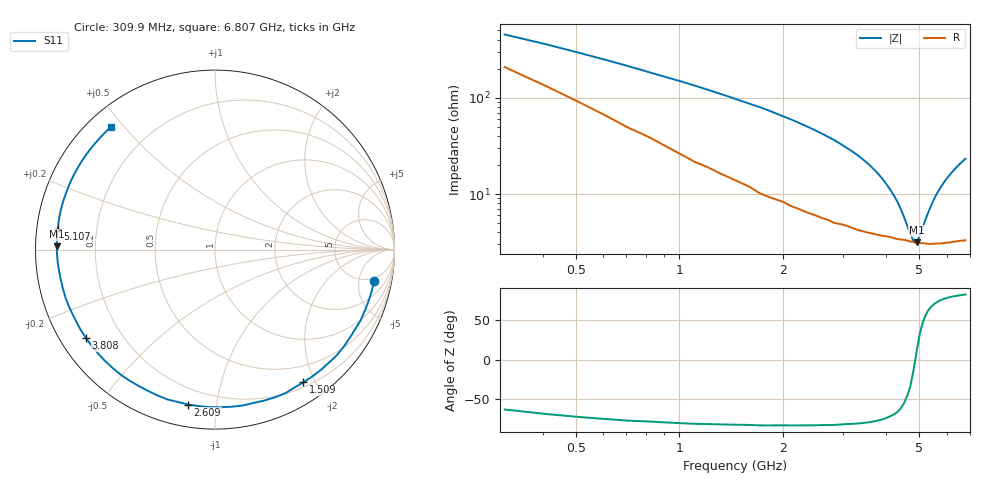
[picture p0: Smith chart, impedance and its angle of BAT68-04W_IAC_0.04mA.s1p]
! Infineon Technologies  Discrete & RF Semiconductors
! BAT68-04W
! IAC = 0.04 mA
! One-Port S-Parameters
# Hz  S  MA  R  50
!f  S11
!Hz  Mag  Ang
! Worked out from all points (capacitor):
!   66 points, 309.9 MHz to 6.807 GHz, reference 50 ohm
!   read as one part to ground: C = 1.16 pF near 309.9 MHz
!   lowest |Z| = 3.17 ohm at 4.908 GHz (marker M1)
!   series resonance near 4.865 GHz, so ESL is about 920 pH
!   S11 on the Smith chart (normalised r, x): 309.9 MHz: 4.15, -8.02; 1.509 GHz: 0.26, -1.84; 2.609 GHz: 0.11, -0.83; 3.808 GHz: 0.08, -0.31; 5.107 GHz: 0.06, +0.06; 6.807 GHz: 0.07, +0.46
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3.0985e8  0.904 -11.3
5.0975e8  0.9022 -18.6
7.0965e8  0.9021 -25.9
1.0095e9  0.8983 -37.1
1.2094e9  0.8945 -44.6
1.50925e9  0.8883 -56.4
1.70915e9  0.8908 -63.8
1.8091e9  0.8885 -67.8
2.009e9  0.881 -76.1
2.10895e9  0.8823 -79.9
2.30885e9  0.8792 -88.0
2.6087e9  0.876 -99.9
2.8086e9  0.8759 -107.6
3.0085e9  0.871 -115.7
3.2084e9  0.8719 -123.2
3.4083e9  0.8722 -130.7
3.6082e9  0.8717 -138.1
3.8081e9  0.8715 -145.4
4.10795e9  0.8716 -156.0
4.4078e9  0.8748 -165.8
4.70765e9  0.8792 -175.2
4.90755e9  0.8824 178.7
5.10745e9  0.8838 172.6
5.2074e9  0.885 169.7
5.6072e9  0.888 158.5
6.007e9  0.8905 148.3
6.4068e9  0.8925 139.0
6.8066e9  0.8964 130.4
